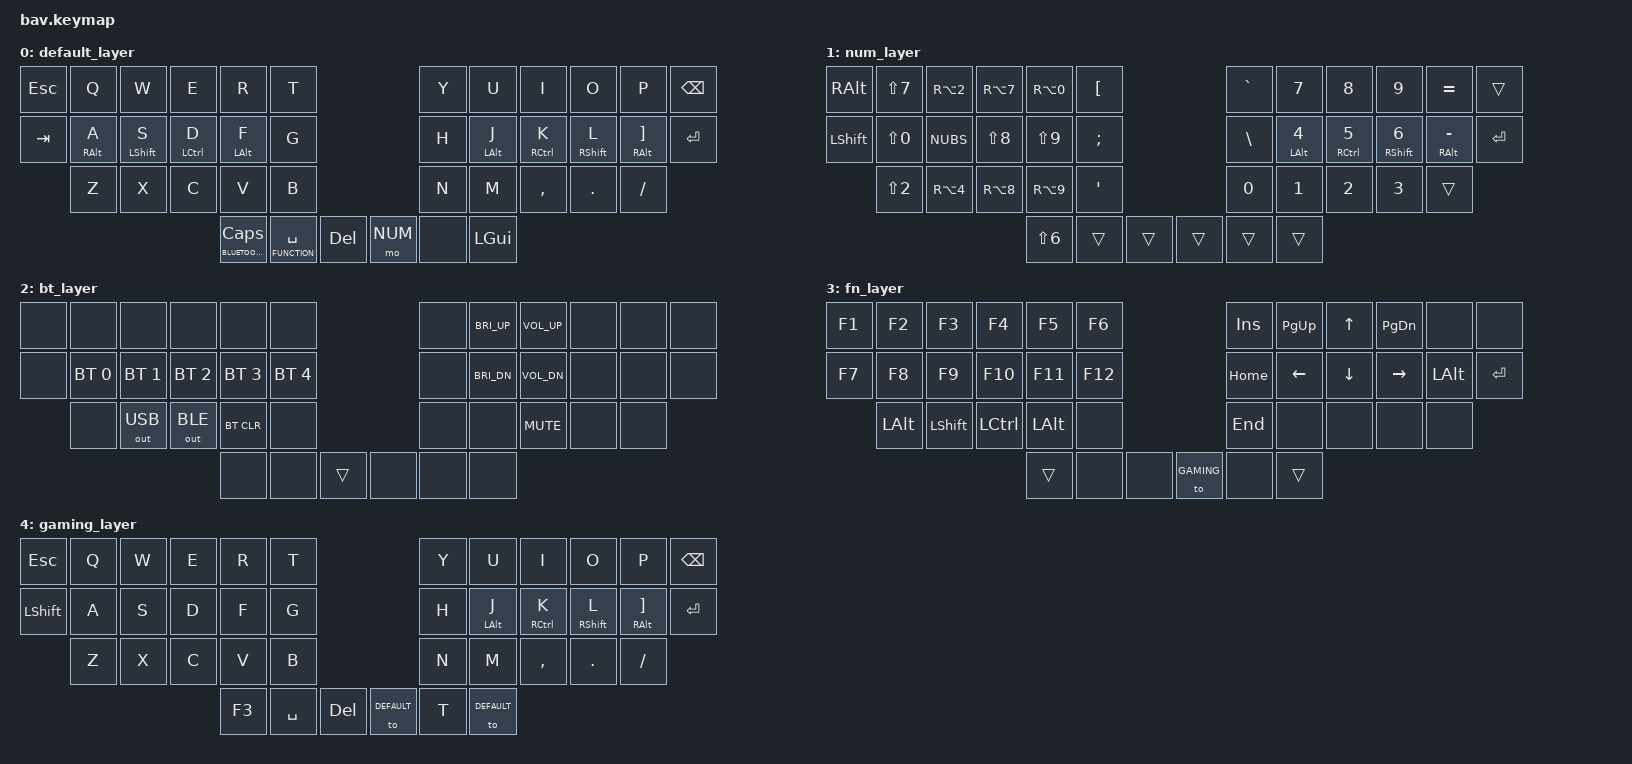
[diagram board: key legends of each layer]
/*
 * Copyright (c) 2020 The ZMK Contributors
 *
 * SPDX-License-Identifier: MIT
 */
#include <behaviors.dtsi>
#include <dt-bindings/zmk/keys.h>
#include <dt-bindings/zmk/bt.h>
#include <dt-bindings/zmk/outputs.h>

#define DEFAULT 0
#define NUM 1
#define BLUETOOTH 2
#define FUNCTION 3
#define GAMING 4

&kscan1 {
    debounce-press-ms = <8>;
    debounce-release-ms = <15>;
};

/ {
    behaviors {
        hm: homerow_mods {
            compatible = "zmk,behavior-hold-tap";
            label = "HOMEROW_MODS";
            #binding-cells = <2>;
            tapping-term-ms = <150>;
            quick-tap-ms = <0>;
            flavor = "tap-preferred";
            bindings = <&kp>, <&kp>;
        };

    };

    /*
    *norwegian interpretation
    * for other languages, make your own keymap. The codes in the ZMK docs are for US layout.
    */
    
    keymap {
        compatible = "zmk,keymap";

        default_layer {
// --------------------------------------------------------------------------------------------------------------------------------------------------------------------
// |   ESC   |    Q    |     W      |     E     |     R    |     T    |                |    Y    |    U   |    I    |    O    |          P     |BACKSPACE|
// |   TAB   | RALT/A  |  LShift/S  |  LCtrl/D  |  LAlt/F  |     G    |                |    H    | LAlt/J | RCtrl/K | RShft/L | RALT/Diaeresis |  ENTER  |
//           |    Z    |     X      |     C     |     V    |     B    |                |    N    |    M   |    ,    |    .    |     -          |         
//                                | FUNCTION/CAPS |  bluetooth/space  | delete |  NUM  |   NONE  |  LGUI  |
            bindings = <
&kp ESC   &kp Q      &kp W           &kp E           &kp R              &kp T                                       &kp Y     &kp U       &kp I        &kp O        &kp P          &kp BSPC
&kp TAB   &hm RALT A &hm LSHFT S     &hm LCTRL D     &hm LALT F         &kp G                                       &kp H     &hm LALT J  &hm RCTRL K  &hm RSHFT L  &hm RALT RBKT  &kp ENTER
          &kp Z      &kp X           &kp C           &kp V              &kp B                                       &kp N     &kp M       &kp COMMA    &kp PERIOD   &kp SLASH
                                                    &lt BLUETOOTH CAPS  &lt FUNCTION SPACE  &kp DELETE   &mo NUM    &none    &kp LGUI
            >;
        };

        num_layer {
// --------------------------------------------------------------------------------------------------------------------------------------------------------------------
// |  RALT   |    /    |     @      |     {     |     }    |    Å    |                |  |(bar) |      7       |       8       |       9       |       \      |BACKSPACE|
// |  LSHIFT |    =    |     <      |     (     |     )    |    Ø    |                |    '    |    LALT/4    |    RCtrl/5    |    RShft/6    |    RALT/+    |  ENTER  |
//           |    "    |     $      |     [     |     ]    |    Æ    |                |    0    |      1       |       2       |       3       |       -      |         
//                                              |     &    |  SPACE  |  DEL  |        | tog num |   LGUI  |
            bindings = <
&kp RALT   &kp LS(N7)  &kp RA(N2)  &kp RA(N7)  &kp RA(N0)  &kp LBKT                          &kp GRAVE  &kp N7        &kp N8         &kp N9         &kp EQUAL        &trans
&kp LSHFT  &kp LS(N0)  &kp NUBS    &kp LS(N8)  &kp LS(N9)  &kp SEMI                          &kp BSLH   &hm LALT N4   &hm RCTRL N5   &hm RSHFT N6   &hm RALT MINUS   &kp ENTER
           &kp LS(N2)  &kp RA(N4)  &kp RA(N8)  &kp RA(N9)  &kp SQT                           &kp N0     &kp N1        &kp N2         &kp N3         &trans
                                               &kp LS(N6)  &trans       &trans     &trans    &trans     &trans
            >;
        };

        bt_layer {
// --------------------------------------------------------------------------------------------------------------------------------------------------------------------
// |  NONE  |  NONE  |  LSHIFT |  CTRL  |    LAlt    |  NONE  |                 |  NONE  |  NONE  |  vol up  |  NONE  |  NONE  |  NONE  |
// |  NONE  |  bt 0  |   bt 1  |  bt 2  |    bt 3    |  bt 4  |                 |  NONE  |  NONE  |  vol dn  |  NONE  |  NONE  |  NONE  |
//          |  NONE  | out usb | out bt |  bt clear  |  NONE  |                 |  NONE  |  NONE  |  NONE    |  NONE  |  NONE  |
//                                      |    NONE    |  NONE  |  NONE  |        |  NONE  |  NONE  |
            bindings = <
&none  &none         &none         &none         &none         &none                            &none    &kp C_BRI_UP  &kp C_VOL_UP    &none    &none  &none
&none  &bt BT_SEL 0  &bt BT_SEL 1  &bt BT_SEL 2  &bt BT_SEL 3  &bt BT_SEL 4                     &none    &kp C_BRI_DN  &kp C_VOL_DN    &none    &none  &none
       &none         &out OUT_USB  &out OUT_BLE  &bt BT_CLR    &none                            &none    &none         &kp C_MUTE      &none    &none
                                                 &none         &none        &trans     &none    &none    &none
            >;
        };

        fn_layer {
// --------------------------------------------------------------------------------------------------------------------------------------------------------------------
// |   F1   |   F2   |   F3   |   F4   |   F5   |   F6   |                      |   INS  |  pgup  |   up   |  pgdn  |  NONE  |  NONE  |
// |   F7   |   F8   |   F9   |   F10  |   F11  |   F12  |                      |  HOME  |  left  |  down  |  right |  lalt  |  ENTER |
//          |  LALT  |  LSHIFT|  CTRL  |  LALT  |  NONE  |                      |   END  |  NONE  |  NONE  |  NONE  |  NONE  |
//                                     |  NONE  |  NONE  |  NONE  |  to GAMING  |  NONE  |  LGUI  |
            bindings = <
&kp F1  &kp F2    &kp F3     &kp F4     &kp F5    &kp F6                        &kp INS   &kp PG_UP  &kp UP    &kp PG_DN  &none  &none
&kp F7  &kp F8    &kp F9     &kp F10    &kp F11   &kp F12                       &kp HOME  &kp LEFT   &kp DOWN  &kp RIGHT  &kp LALT  &kp ENTER
        &kp LALT  &kp LSHFT  &kp LCTRL  &kp LALT  &none                         &kp END   &none      &none     &none      &none
                                        &trans    &none  &none    &to GAMING    &none     &trans
            >;
        };

        gaming_layer {
// --------------------------------------------------------------------------------------------------------------------------------------------------------------------
// |   ESC   |    Q    |     W      |     E     |     R    |     T    |              
// |   TAB   | RALT/A  |  LShift/S  |  LCtrl/D  |  LAlt/F  |     G    |              
//           |    Z    |     X      |     C     |     V    |     B    |              
//                                | FUNCTION/CAPS |  bluetooth/space  | delete |  to default  
            bindings = <
&kp ESC    &kp Q      &kp W    &kp E   &kp R    &kp T                                   &kp Y     &kp U       &kp I        &kp O        &kp P          &kp BSPC
&kp LSHFT  &kp A      &kp S    &kp D   &kp F    &kp G                                   &kp H     &hm LALT J  &hm RCTRL K  &hm RSHFT L  &hm RALT RBKT  &kp ENTER
           &kp Z      &kp X    &kp C   &kp V    &kp B                                   &kp N     &kp M       &kp COMMA    &kp PERIOD   &kp SLASH
                                       &kp F3   &kp SPACE  &kp DELETE     &to DEFAULT   &kp T    &to DEFAULT
            >;
        };
    };
};
